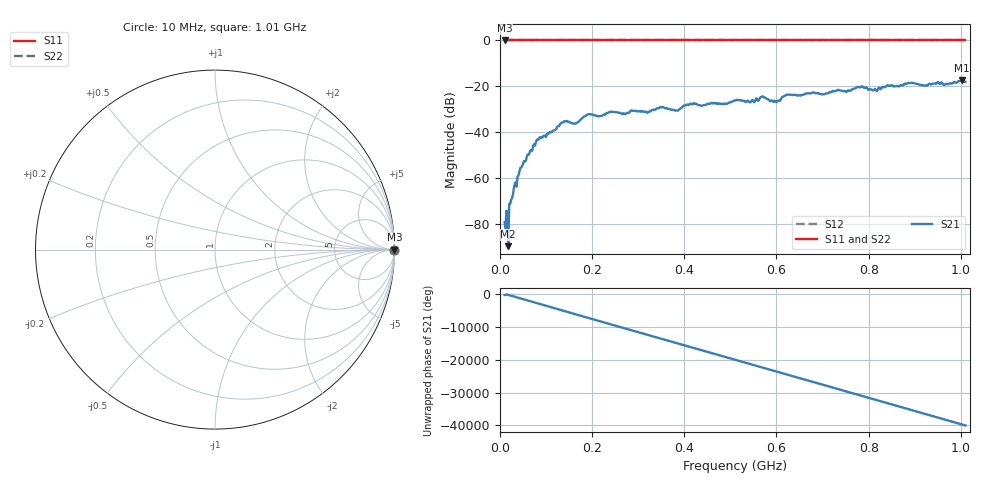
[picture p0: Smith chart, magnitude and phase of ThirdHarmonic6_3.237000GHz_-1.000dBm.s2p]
! 8/17/2025 9:55:39 AM
! C:\ANRITSUVNA\TEMP\TEMP.S2P
! CHANNEL.1
! TR.MEASUREMENT
! RAW.DATA
! RF.CORRECTION.OFF
! AVERAGING.OFF
! IF.BANDWIDTH: 5KHZ
! SWEEPTYPE:  FREQ.SWEEP(Linear)
! Reference Plane Port Info
! PORT:  PORT1  PORT2
! DISTANCE:  0  m  0  m
! TIME:  0  s  0  s
! PHASE.OFFSET:  0  deg.  0  deg.
! LOSS:  0  dB  0  dB
! REF.LOSS:  0  dB  0  dB
! REF.FREQ:  0  Hz  0  Hz
! Power Info
! POWER:  -20  dBm  -20  dBm
! EFF.POWER:  -20  dBm  -20  dBm
! SOURCE.ATTEN:  0  dB  0  dB
! TEST.ATTEN:  0  dB  0  dB
# GHZ S RI R 50.0
! FREQ.GHZ  S11RE  S11IM  S21RE  S21IM  S12RE  S12IM  S22RE  S22IM
!; PortSelection: Port_12
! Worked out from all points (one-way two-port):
!   501 points, 10 MHz to 1.01 GHz, reference 50 ohm
!   highest |S21| = -17.35 dB at 1.002 GHz (marker M1); lowest = -89.6 dB at 18 MHz (marker M2)
!   lowest |S11| = 0.0 dB at 10 MHz (marker M3)
!   |S11| at or under -10 dB: nowhere
!   |S22| runs from 0.0 to 0.0 dB; largest |S21 - S12| = 1.1
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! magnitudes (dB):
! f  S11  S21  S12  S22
! 10 MHz  0.0  -79.1  0.0  0.0
! 14 MHz  0.0  -74.1  0.0  0.0
! 18 MHz  0.0  -89.6  0.0  0.0
! 42 MHz  0.0  -57.3  0.0  0.0
! 82 MHz  0.0  -43.3  0.0  0.0
! 136 MHz  0.0  -35.7  0.0  0.0
! 162 MHz  0.0  -36.1  0.0  0.0
! 178 MHz  0.0  -33.9  0.0  0.0
! 344 MHz  0.0  -29.5  0.0  0.0
! 384 MHz  0.0  -30.5  0.0  0.0
! 416 MHz  0.0  -27.8  0.0  0.0
! 510 MHz  0.0  -26.1  0.0  0.0
! 548 MHz  0.0  -25.9  0.0  0.0
! 570 MHz  0.0  -24.4  0.0  0.0
! 598 MHz  0.0  -26.6  0.0  0.0
! 624 MHz  0.0  -23.5  0.0  0.0
! 678 MHz  0.0  -22.7  0.0  0.0
! 782 MHz  0.0  -20.4  0.0  0.0
! 814 MHz  0.0  -21.1  0.0  0.0
! 844 MHz  0.0  -19.7  0.0  0.0
! 1.002 GHz  0.0  -17.4  0.0  0.0
! 1.01 GHz  0.0  -18.0  0.0  0.0
